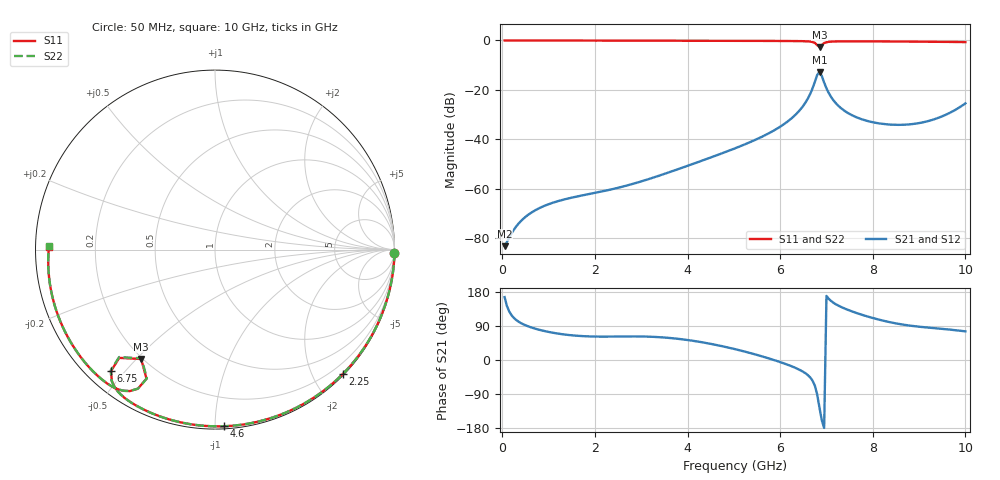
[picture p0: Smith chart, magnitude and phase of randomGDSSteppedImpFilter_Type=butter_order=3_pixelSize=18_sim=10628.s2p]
! freq	dB(S11)	phase(S11)	dB(S12)	phase(S12)
!  dB(S21)	phase(S21)	dB(S22)	phase(S22)
!S-par simulation data
#  GHz  S  DB  R 50
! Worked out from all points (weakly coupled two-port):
!   200 points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, 50 MHz to 10 GHz, reference 50 ohm
!   highest |S21| = -12.71 dB at 6.85 GHz (marker M1); lowest = -83.2 dB at 50 MHz (marker M2)
!   lowest |S11| = -2.7 dB at 6.85 GHz (marker M3), VSWR 6.55, Z = 9.72 - j25.8 ohm
!   |S11| at or under -10 dB: nowhere
!   |S22| runs from -2.7 to 0.0 dB; largest |S21 - S12| = 0
!   S11 on the Smith chart (normalised r, x): 50 MHz: open; 2.25 GHz: 0.02, -2.47; 4.6 GHz: 0.02, -1.05; 6.75 GHz: 0.07, -0.46; 10 GHz: 0.04, +0.01
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0.05  -0.00 -1.0  -83.21 165.9  -83.21 165.9  -0.00 -1.0
0.15  -0.00 -3.0  -79.70 128.0  -79.70 128.0  -0.00 -3.0
0.4  -0.01 -8.0  -73.09 97.6  -73.09 97.6  -0.01 -8.0
0.75  -0.02 -15.0  -68.29 81.3  -68.29 81.3  -0.02 -15.0
1.75  -0.04 -34.5  -62.59 62.9  -62.59 62.9  -0.04 -34.6
2.25  -0.06 -44.1  -60.68 61.6  -60.68 61.6  -0.06 -44.2
3.4  -0.09 -65.5  -54.61 60.2  -54.61 60.2  -0.09 -65.6
4.6  -0.13 -87.0  -46.65 40.2  -46.65 40.2  -0.13 -87.0
5.05  -0.15 -94.8  -43.45 27.9  -43.45 27.9  -0.15 -94.9
6.2  -0.22 -115.2  -32.21 -14.3  -32.21 -14.3  -0.22 -115.3
6.5  -0.29 -121.6  -26.39 -31.3  -26.39 -31.3  -0.29 -121.7
6.7  -0.63 -128.2  -19.36 -54.7  -19.36 -54.7  -0.64 -128.4
6.75  -1.01 -130.6  -16.72 -67.9  -16.72 -67.9  -1.02 -130.8
6.85  -2.67 -124.0  -12.71 -126.5  -12.71 -126.5  -2.72 -124.1
6.9  -1.78 -118.0  -14.41 -159.5  -14.41 -159.5  -1.81 -117.9
7  -0.72 -121.1  -19.37 169.1  -19.37 169.1  -0.72 -121.1
7.15  -0.43 -125.9  -24.19 151.1  -24.19 151.1  -0.43 -126.0
7.35  -0.36 -130.5  -27.91 138.0  -27.91 138.0  -0.36 -130.5
7.8  -0.36 -139.0  -32.11 118.0  -32.11 118.0  -0.36 -139.1
8.35  -0.41 -148.8  -34.00 100.3  -34.00 100.3  -0.41 -148.9
9.2  -0.51 -164.2  -32.59 85.5  -32.59 85.5  -0.51 -164.4
10  -0.67 179.0  -25.44 75.6  -25.44 75.6  -0.68 178.8
